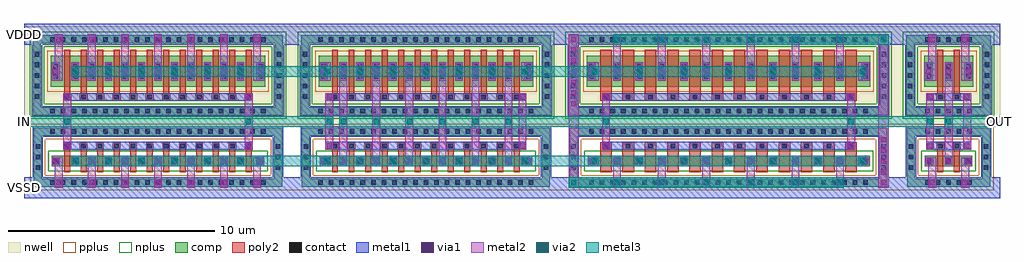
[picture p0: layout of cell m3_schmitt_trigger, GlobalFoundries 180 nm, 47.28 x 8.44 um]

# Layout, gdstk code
import gdstk
lib = gdstk.Library(unit=1e-6, precision=5e-09)
def R(c, l, rs):  # rectangles x0, y0, x1, y1
    for r in rs: c.add(gdstk.rectangle(r[:2], r[2:], *l))
def A(c, l, x, y, w, h, nx, ny, dx, dy):  # array of equal rectangles
    R(c, l, [(x+i*dx, y+j*dy, x+i*dx+w, y+j*dy+h) for i in range(nx) for j in range(ny)])
def P(c, l, *ps):  # polygons
    for p in ps: c.add(gdstk.Polygon(p, *l))
nwell = (21, 0)
comp = (22, 0)
poly2 = (30, 0)
pplus = (31, 0)
nplus = (32, 0)
contact = (33, 0)
metal1 = (34, 0)
via1 = (35, 0)
metal2 = (36, 0)
via2 = (38, 0)
metal3 = (42, 0)

pfet_5 = lib.new_cell('pfet$5')
R(pfet_5, nwell, [(-1.76,-1.81,11.22,2.93)])
R(pfet_5, comp, [(-0.46,0,0,1.5), (0,0,9.46,1.5), (9.46,0,9.92,1.5)])
P(pfet_5, comp, [(-1.32,-1.37),(-1.32,2.11),(-0.94,2.11),(-0.94,-0.99),(10.4,-0.99),(10.4,2.11),(-1.32,2.11),(-1.32,2.49),(10.78,2.49),(10.78,-1.37)])
A(pfet_5, poly2, 0.14, -0.68, 0.38, 0.38, 12, 1, 0.8, 0)
A(pfet_5, poly2, 0.19, -0.3, 0.28, 2.1, 12, 1, 0.8, 0)
R(pfet_5, pplus, [(-0.63,-0.24,10.09,1.74)])
A(pfet_5, contact, -0.48, -1.29, 0.22, 0.22, 21, 2, 0.51, 3.48)
A(pfet_5, contact, 0.22, -0.6, 0.22, 0.22, 12, 1, 0.8, 0)
A(pfet_5, contact, -1.24, -0.57, 0.22, 0.22, 1, 5, 0, 0.51)
A(pfet_5, contact, 10.48, -0.57, 0.22, 0.22, 1, 5, 0, 0.51)
A(pfet_5, contact, 0.62, 0.385, 0.22, 0.22, 11, 2, 0.8, 0.51)
R(pfet_5, contact, [(-0.34,0.385,-0.12,0.605), (9.58,0.385,9.8,0.605), (-0.34,0.895,-0.12,1.115), (9.58,0.895,9.8,1.115)])
A(pfet_5, metal1, 0.14, -0.68, 0.38, 0.38, 12, 1, 0.8, 0)
A(pfet_5, metal1, 0.54, 0.305, 0.38, 0.89, 11, 1, 0.8, 0)
R(pfet_5, metal1, [(-0.42,0.305,-0.04,1.195), (9.5,0.305,9.88,1.195)])

nfet_5 = lib.new_cell('nfet$5')
R(nfet_5, comp, [(-0.42,0,0,0.5), (0,0,9.46,0.5), (9.46,0,9.88,0.5)])
P(nfet_5, comp, [(-1.28,-0.99),(-1.28,1.48),(-0.9,1.48),(-0.9,-0.61),(10.36,-0.61),(10.36,1.48),(-1.28,1.48),(-1.28,1.86),(10.74,1.86),(10.74,-0.99)])
A(nfet_5, poly2, 0.19, -0.3, 0.28, 1.1, 12, 1, 0.8, 0)
A(nfet_5, poly2, 0.15, 0.8, 0.36, 0.36, 12, 1, 0.8, 0)
P(nfet_5, pplus, [(-1.45,-1.16),(-1.45,1.31),(-0.73,1.31),(-0.73,-0.44),(10.19,-0.44),(10.19,1.31),(-1.45,1.31),(-1.45,2.03),(10.91,2.03),(10.91,-1.16)])
R(nfet_5, nplus, [(-0.59,-0.24,10.05,0.74)])
A(nfet_5, contact, -0.48, -0.91, 0.22, 0.22, 21, 2, 0.51, 2.47)
A(nfet_5, contact, -1.2, -0.185, 0.22, 0.22, 1, 3, 0, 0.51)
A(nfet_5, contact, 10.44, -0.185, 0.22, 0.22, 1, 3, 0, 0.51)
A(nfet_5, contact, 0.62, 0.14, 0.22, 0.22, 11, 1, 0.8, 0)
A(nfet_5, contact, 0.22, 0.87, 0.22, 0.22, 12, 1, 0.8, 0)
R(nfet_5, contact, [(-0.32,0.14,-0.1,0.36), (9.56,0.14,9.78,0.36)])
A(nfet_5, metal1, 0.54, 0.06, 0.38, 0.38, 11, 1, 0.8, 0)
A(nfet_5, metal1, 0.14, 0.79, 0.38, 0.38, 12, 1, 0.8, 0)
R(nfet_5, metal1, [(-0.4,0.06,-0.02,0.44), (9.48,0.06,9.86,0.44)])

nfet_6 = lib.new_cell('nfet$6')
R(nfet_6, comp, [(-0.42,0,0,0.5), (0,0,12.82,0.5), (12.82,0,13.24,0.5)])
P(nfet_6, comp, [(-1.28,-0.99),(-1.28,1.48),(-0.9,1.48),(-0.9,-0.61),(13.72,-0.61),(13.72,1.48),(-1.28,1.48),(-1.28,1.86),(14.1,1.86),(14.1,-0.99)])
A(nfet_6, poly2, 0.19, -0.3, 0.56, 1.1, 12, 1, 1.08, 0)
A(nfet_6, poly2, 0.19, 0.8, 0.56, 0.36, 12, 1, 1.08, 0)
P(nfet_6, pplus, [(-1.45,-1.16),(-1.45,1.31),(-0.73,1.31),(-0.73,-0.44),(13.55,-0.44),(13.55,1.31),(-1.45,1.31),(-1.45,2.03),(14.27,2.03),(14.27,-1.16)])
R(nfet_6, nplus, [(-0.59,-0.24,13.41,0.74)])
A(nfet_6, contact, -0.33, -0.91, 0.22, 0.22, 27, 2, 0.51, 2.47)
A(nfet_6, contact, -1.2, -0.185, 0.22, 0.22, 1, 3, 0, 0.51)
A(nfet_6, contact, 13.8, -0.185, 0.22, 0.22, 1, 3, 0, 0.51)
A(nfet_6, contact, 0.9, 0.14, 0.22, 0.22, 11, 1, 1.08, 0)
A(nfet_6, contact, 0.36, 0.87, 0.22, 0.22, 12, 1, 1.08, 0)
R(nfet_6, contact, [(-0.32,0.14,-0.1,0.36), (12.92,0.14,13.14,0.36)])
A(nfet_6, metal1, 0.82, 0.06, 0.38, 0.38, 11, 1, 1.08, 0)
A(nfet_6, metal1, 0.28, 0.79, 0.38, 0.38, 12, 1, 1.08, 0)
R(nfet_6, metal1, [(-0.4,0.06,-0.02,0.44), (12.84,0.06,13.22,0.44)])

pfet_6 = lib.new_cell('pfet$6')
R(pfet_6, nwell, [(-1.76,-1.81,14.58,2.93)])
R(pfet_6, comp, [(-0.46,0,0,1.5), (0,0,12.82,1.5), (12.82,0,13.28,1.5)])
P(pfet_6, comp, [(-1.32,-1.37),(-1.32,2.11),(-0.94,2.11),(-0.94,-0.99),(13.76,-0.99),(13.76,2.11),(-1.32,2.11),(-1.32,2.49),(14.14,2.49),(14.14,-1.37)])
A(pfet_6, poly2, 0.19, -0.68, 0.56, 0.38, 12, 1, 1.08, 0)
A(pfet_6, poly2, 0.19, -0.3, 0.56, 2.1, 12, 1, 1.08, 0)
R(pfet_6, pplus, [(-0.63,-0.24,13.45,1.74)])
A(pfet_6, contact, -0.33, -1.29, 0.22, 0.22, 27, 2, 0.51, 3.48)
A(pfet_6, contact, 0.36, -0.6, 0.22, 0.22, 12, 1, 1.08, 0)
A(pfet_6, contact, -1.24, -0.57, 0.22, 0.22, 1, 5, 0, 0.51)
A(pfet_6, contact, 13.84, -0.57, 0.22, 0.22, 1, 5, 0, 0.51)
A(pfet_6, contact, 0.9, 0.385, 0.22, 0.22, 11, 2, 1.08, 0.51)
R(pfet_6, contact, [(-0.34,0.385,-0.12,0.605), (12.94,0.385,13.16,0.605), (-0.34,0.895,-0.12,1.115), (12.94,0.895,13.16,1.115)])
A(pfet_6, metal1, 0.28, -0.68, 0.38, 0.38, 12, 1, 1.08, 0)
A(pfet_6, metal1, 0.82, 0.305, 0.38, 0.89, 11, 1, 1.08, 0)
R(pfet_6, metal1, [(-0.42,0.305,-0.04,1.195), (12.86,0.305,13.24,1.195)])

pfet_7 = lib.new_cell('pfet$7')
R(pfet_7, nwell, [(-1.76,-1.81,3.22,2.93)])
R(pfet_7, comp, [(-0.46,0,0,1.5), (0,0,1.46,1.5), (1.46,0,1.92,1.5)])
P(pfet_7, comp, [(-1.32,-1.37),(-1.32,2.11),(-0.94,2.11),(-0.94,-0.99),(2.4,-0.99),(2.4,2.11),(-1.32,2.11),(-1.32,2.49),(2.78,2.49),(2.78,-1.37)])
R(pfet_7, poly2, [(0.14,-0.68,0.52,-0.3), (0.94,-0.68,1.32,-0.3), (0.19,-0.3,0.47,1.8), (0.99,-0.3,1.27,1.8)])
R(pfet_7, pplus, [(-0.63,-0.24,2.09,1.74)])
A(pfet_7, contact, -0.4, -1.29, 0.22, 0.22, 5, 2, 0.51, 3.48)
A(pfet_7, contact, -1.24, -0.57, 0.22, 0.22, 1, 5, 0, 0.51)
A(pfet_7, contact, 2.48, -0.57, 0.22, 0.22, 1, 5, 0, 0.51)
A(pfet_7, contact, -0.34, 0.385, 0.22, 0.22, 3, 2, 0.96, 0.51)
R(pfet_7, contact, [(0.22,-0.6,0.44,-0.38), (1.02,-0.6,1.24,-0.38)])
A(pfet_7, metal1, -0.42, 0.305, 0.38, 0.89, 3, 1, 0.96, 0)
R(pfet_7, metal1, [(0.14,-0.68,0.52,-0.3), (0.94,-0.68,1.32,-0.3)])

nfet_7 = lib.new_cell('nfet$7')
R(nfet_7, comp, [(-0.42,0,0,0.5), (0,0,1.46,0.5), (1.46,0,1.88,0.5)])
P(nfet_7, comp, [(-1.28,-0.99),(-1.28,1.48),(-0.9,1.48),(-0.9,-0.61),(2.36,-0.61),(2.36,1.48),(-1.28,1.48),(-1.28,1.86),(2.74,1.86),(2.74,-0.99)])
R(nfet_7, poly2, [(0.19,-0.3,0.47,0.8), (0.99,-0.3,1.27,0.8), (0.15,0.8,0.51,1.16), (0.95,0.8,1.31,1.16)])
P(nfet_7, pplus, [(-1.45,-1.16),(-1.45,1.31),(-0.73,1.31),(-0.73,-0.44),(2.19,-0.44),(2.19,1.31),(-1.45,1.31),(-1.45,2.03),(2.91,2.03),(2.91,-1.16)])
R(nfet_7, nplus, [(-0.59,-0.24,2.05,0.74)])
A(nfet_7, contact, -0.4, -0.91, 0.22, 0.22, 5, 2, 0.51, 2.47)
A(nfet_7, contact, -1.2, -0.185, 0.22, 0.22, 1, 3, 0, 0.51)
A(nfet_7, contact, 2.44, -0.185, 0.22, 0.22, 1, 3, 0, 0.51)
A(nfet_7, contact, -0.32, 0.14, 0.22, 0.22, 3, 1, 0.94, 0)
R(nfet_7, contact, [(0.22,0.87,0.44,1.09), (1.02,0.87,1.24,1.09)])
A(nfet_7, metal1, -0.4, 0.06, 0.38, 0.38, 3, 1, 0.94, 0)
R(nfet_7, metal1, [(0.14,0.79,0.52,1.17), (0.94,0.79,1.32,1.17)])

m3_schmitt_trigger = lib.new_cell('m3_schmitt_trigger')
R(m3_schmitt_trigger, pplus, [(1.87,-5.72,2.49,-2.53), (14.85,-5.72,15.47,-2.53), (31.19,-5.72,31.81,-2.53)])
A(m3_schmitt_trigger, via1, -9.24, -5.49, 0.26, 0.26, 7, 2, 1.6, 6.94)
A(m3_schmitt_trigger, via1, 30.7, -5.49, 0.26, 0.26, 1, 5, 0, 0.52)
A(m3_schmitt_trigger, via1, -8.44, -4.44, 0.26, 0.26, 11, 2, 0.8, 4.34)
A(m3_schmitt_trigger, via1, 4.54, -4.44, 0.26, 0.26, 11, 2, 0.8, 4.34)
A(m3_schmitt_trigger, via1, 17.8, -4.44, 0.26, 0.26, 11, 2, 1.08, 4.34)
A(m3_schmitt_trigger, via1, 32.92, -4.44, 0.26, 0.26, 3, 1, 0.94, 0)
A(m3_schmitt_trigger, via1, 15.7, -1.67, 0.26, 0.26, 1, 7, 0, 0.52)
A(m3_schmitt_trigger, via1, 32.9, -0.1, 0.26, 0.26, 3, 1, 0.96, 0)
R(m3_schmitt_trigger, via1, [(33.06,-5.49,33.32,-5.23), (34.66,-5.49,34.92,-5.23), (-9.38,-4.44,-9.12,-4.18), (0.54,-4.44,0.8,-4.18), (3.6,-4.44,3.86,-4.18), (13.48,-4.44,13.74,-4.18), (16.58,-4.44,16.84,-4.18), (29.82,-4.44,30.08,-4.18), (-8.84,-3.71,-8.58,-3.45), (-0.04,-3.71,0.22,-3.45), (3.86,-3.71,4.12,-3.45), (13.22,-3.71,13.48,-3.45), (17.26,-3.71,17.52,-3.45), (29.14,-3.71,29.4,-3.45), (32.96,-3.71,33.22,-3.45), (34.76,-3.71,35.02,-3.45), (-8.84,-1.34,-8.58,-1.08), (-0.04,-1.34,0.22,-1.08), (3.86,-1.34,4.12,-1.08), (13.22,-1.34,13.48,-1.08), (17.26,-1.34,17.52,-1.08), (29.14,-1.34,29.4,-1.08), (32.96,-1.34,33.22,-1.08), (34.76,-1.34,35.02,-1.08), (-9.4,-0.1,-9.14,0.16), (0.52,-0.1,0.78,0.16), (3.58,-0.1,3.84,0.16), (13.5,-0.1,13.76,0.16), (16.56,-0.1,16.82,0.16), (29.84,-0.1,30.1,0.16), (33.06,1.45,33.32,1.71), (34.66,1.45,34.92,1.71)])
A(m3_schmitt_trigger, via2, 17.8, -5.49, 0.26, 0.26, 6, 2, 2.16, 6.94)
A(m3_schmitt_trigger, via2, -8.44, -4.44, 0.26, 0.26, 6, 2, 1.6, 4.34)
A(m3_schmitt_trigger, via2, 3.74, -4.44, 0.26, 0.26, 7, 2, 1.6, 4.34)
A(m3_schmitt_trigger, via2, 16.72, -4.44, 0.26, 0.26, 7, 2, 2.16, 4.34)
A(m3_schmitt_trigger, via2, 4.54, -2.525, 0.26, 0.26, 6, 1, 1.6, 0)
R(m3_schmitt_trigger, via2, [(15.7,-5.49,15.96,-5.23), (-8.84,-2.525,-8.58,-2.265), (-0.04,-2.525,0.22,-2.265), (3.86,-2.525,4.12,-2.265), (17.26,-2.525,17.52,-2.265), (29.14,-2.525,29.4,-2.265), (32.96,-2.525,33.22,-2.265), (33.86,-2.525,34.12,-2.265), (30.7,1.45,30.96,1.71)])
m3_schmitt_trigger.add(gdstk.FlexPath([(15.43,1.58),(30.87,1.58),(30.87,-1.9),(15.79,-1.9),(15.79,1.22)], 0.72, ends="flush", simple_path=True, layer=32, datatype=0))  # nplus
m3_schmitt_trigger.add(gdstk.FlexPath([(31.77,1.58),(35.85,1.58),(35.85,-1.9),(32.13,-1.9),(32.13,1.22)], 0.72, ends="flush", simple_path=True, layer=32, datatype=0))  # nplus
m3_schmitt_trigger.add(gdstk.FlexPath([(-10.53,1.58),(1.55,1.58),(1.55,-1.9),(-10.17,-1.9),(-10.17,1.22)], 0.72, ends="flush", simple_path=True, layer=32, datatype=0))  # nplus
m3_schmitt_trigger.add(gdstk.FlexPath([(2.45,1.58),(14.53,1.58),(14.53,-1.9),(2.81,-1.9),(2.81,1.22)], 0.72, ends="flush", simple_path=True, layer=32, datatype=0))  # nplus
m3_schmitt_trigger.add(gdstk.FlexPath([(17.2,-1.21),(29.46,-1.21)], 0.38, ends="flush", simple_path=True, layer=34, datatype=0))  # metal1
m3_schmitt_trigger.add(gdstk.FlexPath([(17.2,-3.58),(29.46,-3.58)], 0.38, ends="flush", simple_path=True, layer=34, datatype=0))  # metal1
m3_schmitt_trigger.add(gdstk.FlexPath([(15.58,-2.89),(30.83,-2.89),(30.83,-5.36),(15.83,-5.36),(15.83,-3.14)], 0.5, ends="flush", simple_path=True, layer=34, datatype=0))  # metal1
m3_schmitt_trigger.add(gdstk.FlexPath([(15.54,1.58),(30.87,1.58),(30.87,-1.9),(15.79,-1.9),(15.79,1.33)], 0.5, ends="flush", simple_path=True, layer=34, datatype=0))  # metal1
m3_schmitt_trigger.add(gdstk.FlexPath([(-10.8,1.83),(36.48,1.83)], 1, ends="flush", simple_path=True, layer=34, datatype=0))  # metal1
m3_schmitt_trigger.add(gdstk.FlexPath([(-10.8,-5.61),(36.48,-5.61)], 1, ends="flush", simple_path=True, layer=34, datatype=0))  # metal1
m3_schmitt_trigger.add(gdstk.FlexPath([(32.9,-3.58),(35.08,-3.58)], 0.38, ends="flush", simple_path=True, layer=34, datatype=0))  # metal1
m3_schmitt_trigger.add(gdstk.FlexPath([(32.9,-1.21),(35.08,-1.21)], 0.38, ends="flush", simple_path=True, layer=34, datatype=0))  # metal1
m3_schmitt_trigger.add(gdstk.FlexPath([(31.88,1.58),(35.85,1.58),(35.85,-1.9),(32.13,-1.9),(32.13,1.33)], 0.5, ends="flush", simple_path=True, layer=34, datatype=0))  # metal1
m3_schmitt_trigger.add(gdstk.FlexPath([(31.92,-2.89),(35.81,-2.89),(35.81,-5.36),(32.17,-5.36),(32.17,-3.14)], 0.5, ends="flush", simple_path=True, layer=34, datatype=0))  # metal1
m3_schmitt_trigger.add(gdstk.FlexPath([(-10.42,1.58),(1.55,1.58),(1.55,-1.9),(-10.17,-1.9),(-10.17,1.33)], 0.5, ends="flush", simple_path=True, layer=34, datatype=0))  # metal1
m3_schmitt_trigger.add(gdstk.FlexPath([(-10.38,-2.89),(1.51,-2.89),(1.51,-5.36),(-10.13,-5.36),(-10.13,-3.14)], 0.5, ends="flush", simple_path=True, layer=34, datatype=0))  # metal1
m3_schmitt_trigger.add(gdstk.FlexPath([(-8.9,-3.58),(0.28,-3.58)], 0.38, ends="flush", simple_path=True, layer=34, datatype=0))  # metal1
m3_schmitt_trigger.add(gdstk.FlexPath([(-8.9,-1.21),(0.28,-1.21)], 0.38, ends="flush", simple_path=True, layer=34, datatype=0))  # metal1
m3_schmitt_trigger.add(gdstk.FlexPath([(2.56,1.58),(14.53,1.58),(14.53,-1.9),(2.81,-1.9),(2.81,1.33)], 0.5, ends="flush", simple_path=True, layer=34, datatype=0))  # metal1
m3_schmitt_trigger.add(gdstk.FlexPath([(2.6,-2.89),(14.49,-2.89),(14.49,-5.36),(2.85,-5.36),(2.85,-3.14)], 0.5, ends="flush", simple_path=True, layer=34, datatype=0))  # metal1
m3_schmitt_trigger.add(gdstk.FlexPath([(3.8,-3.58),(13.54,-3.58)], 0.38, ends="flush", simple_path=True, layer=34, datatype=0))  # metal1
m3_schmitt_trigger.add(gdstk.FlexPath([(3.8,-1.21),(13.54,-1.21)], 0.38, ends="flush", simple_path=True, layer=34, datatype=0))  # metal1
m3_schmitt_trigger.add(gdstk.FlexPath([(-8.495,0.03),(30,0.03)], 0.5, ends="flush", simple_path=True, layer=42, datatype=0))  # metal3
m3_schmitt_trigger.add(gdstk.FlexPath([(-8.5,-4.31),(30,-4.31)], 0.5, ends="flush", simple_path=True, layer=42, datatype=0))  # metal3
m3_schmitt_trigger.add(gdstk.FlexPath([(15.58,-5.36),(28.92,-5.36)], 0.5, ends="flush", simple_path=True, layer=42, datatype=0))  # metal3
m3_schmitt_trigger.add(gdstk.FlexPath([(17.74,1.58),(31.08,1.58)], 0.5, ends="flush", simple_path=True, layer=42, datatype=0))  # metal3
m3_schmitt_trigger.add(gdstk.FlexPath([(4.48,-2.395),(33.28,-2.395)], 0.5, ends="flush", simple_path=True, layer=42, datatype=0))  # metal3
m3_schmitt_trigger.add(gdstk.FlexPath([(33.8,-2.395),(36.48,-2.395)], 0.5, ends="flush", simple_path=True, layer=42, datatype=0))  # metal3
m3_schmitt_trigger.add(gdstk.FlexPath([(-10.8,-2.395),(4.18,-2.395)], 0.5, ends="flush", simple_path=True, layer=42, datatype=0))  # metal3
m3_schmitt_trigger.add(gdstk.FlexPath([(12.67,0.475),(12.67,-4.5)], 0.38, ends="flush", simple_path=True, layer=36, datatype=0))  # metal2
m3_schmitt_trigger.add(gdstk.FlexPath([(15.83,1.83),(15.83,-5.61)], 0.5, ends="flush", simple_path=True, layer=36, datatype=0))  # metal2
m3_schmitt_trigger.add(gdstk.FlexPath([(28.73,-4.12),(28.73,-5.61)], 0.38, ends="flush", simple_path=True, layer=36, datatype=0))  # metal2
m3_schmitt_trigger.add(gdstk.FlexPath([(26.57,-4.12),(26.57,-5.61)], 0.38, ends="flush", simple_path=True, layer=36, datatype=0))  # metal2
m3_schmitt_trigger.add(gdstk.FlexPath([(24.41,-4.12),(24.41,-5.61)], 0.38, ends="flush", simple_path=True, layer=36, datatype=0))  # metal2
m3_schmitt_trigger.add(gdstk.FlexPath([(22.25,-4.12),(22.25,-5.61)], 0.38, ends="flush", simple_path=True, layer=36, datatype=0))  # metal2
m3_schmitt_trigger.add(gdstk.FlexPath([(20.09,-4.12),(20.09,-5.61)], 0.38, ends="flush", simple_path=True, layer=36, datatype=0))  # metal2
m3_schmitt_trigger.add(gdstk.FlexPath([(17.93,-4.12),(17.93,-5.61)], 0.38, ends="flush", simple_path=True, layer=36, datatype=0))  # metal2
m3_schmitt_trigger.add(gdstk.FlexPath([(27.65,-4.12),(27.65,-4.5)], 0.38, ends="flush", simple_path=True, layer=36, datatype=0))  # metal2
m3_schmitt_trigger.add(gdstk.FlexPath([(23.33,-4.12),(23.33,-4.5)], 0.38, ends="flush", simple_path=True, layer=36, datatype=0))  # metal2
m3_schmitt_trigger.add(gdstk.FlexPath([(30.07,-4.12),(30.07,-4.5)], 0.14, ends="flush", simple_path=True, layer=36, datatype=0))  # metal2
m3_schmitt_trigger.add(gdstk.FlexPath([(19.01,-4.12),(19.01,-4.5)], 0.38, ends="flush", simple_path=True, layer=36, datatype=0))  # metal2
m3_schmitt_trigger.add(gdstk.FlexPath([(16.85,-4.12),(16.85,-4.5)], 0.38, ends="flush", simple_path=True, layer=36, datatype=0))  # metal2
m3_schmitt_trigger.add(gdstk.FlexPath([(16.59,-4.12),(16.59,-4.5)], 0.14, ends="flush", simple_path=True, layer=36, datatype=0))  # metal2
m3_schmitt_trigger.add(gdstk.FlexPath([(25.49,-4.12),(25.49,-4.5)], 0.38, ends="flush", simple_path=True, layer=36, datatype=0))  # metal2
m3_schmitt_trigger.add(gdstk.FlexPath([(28.73,1.83),(28.73,-0.415)], 0.38, ends="flush", simple_path=True, layer=36, datatype=0))  # metal2
m3_schmitt_trigger.add(gdstk.FlexPath([(26.57,1.83),(26.57,-0.415)], 0.38, ends="flush", simple_path=True, layer=36, datatype=0))  # metal2
m3_schmitt_trigger.add(gdstk.FlexPath([(24.41,1.83),(24.41,-0.415)], 0.38, ends="flush", simple_path=True, layer=36, datatype=0))  # metal2
m3_schmitt_trigger.add(gdstk.FlexPath([(22.25,1.83),(22.25,-0.415)], 0.38, ends="flush", simple_path=True, layer=36, datatype=0))  # metal2
m3_schmitt_trigger.add(gdstk.FlexPath([(20.09,1.83),(20.09,-0.415)], 0.38, ends="flush", simple_path=True, layer=36, datatype=0))  # metal2
m3_schmitt_trigger.add(gdstk.FlexPath([(17.93,1.83),(17.93,-0.415)], 0.38, ends="flush", simple_path=True, layer=36, datatype=0))  # metal2
m3_schmitt_trigger.add(gdstk.FlexPath([(16.58,0.475),(16.58,-0.415)], 0.16, ends="flush", simple_path=True, layer=36, datatype=0))  # metal2
m3_schmitt_trigger.add(gdstk.FlexPath([(30.08,0.475),(30.08,-0.415)], 0.16, ends="flush", simple_path=True, layer=36, datatype=0))  # metal2
m3_schmitt_trigger.add(gdstk.FlexPath([(19.01,0.475),(19.01,-0.415)], 0.38, ends="flush", simple_path=True, layer=36, datatype=0))  # metal2
m3_schmitt_trigger.add(gdstk.FlexPath([(16.85,0.475),(16.85,-0.415)], 0.38, ends="flush", simple_path=True, layer=36, datatype=0))  # metal2
m3_schmitt_trigger.add(gdstk.FlexPath([(29.81,0.475),(29.81,-0.415)], 0.38, ends="flush", simple_path=True, layer=36, datatype=0))  # metal2
m3_schmitt_trigger.add(gdstk.FlexPath([(25.49,0.475),(25.49,-0.415)], 0.38, ends="flush", simple_path=True, layer=36, datatype=0))  # metal2
m3_schmitt_trigger.add(gdstk.FlexPath([(23.33,0.475),(23.33,-0.415)], 0.38, ends="flush", simple_path=True, layer=36, datatype=0))  # metal2
m3_schmitt_trigger.add(gdstk.FlexPath([(21.17,0.475),(21.17,-0.415)], 0.38, ends="flush", simple_path=True, layer=36, datatype=0))  # metal2
m3_schmitt_trigger.add(gdstk.FlexPath([(29.27,-1.02),(29.27,-3.77)], 0.38, ends="flush", simple_path=True, layer=36, datatype=0))  # metal2
m3_schmitt_trigger.add(gdstk.FlexPath([(17.39,-1.02),(17.39,-3.77)], 0.38, ends="flush", simple_path=True, layer=36, datatype=0))  # metal2
m3_schmitt_trigger.add(gdstk.FlexPath([(29.81,-4.12),(29.81,-4.5)], 0.38, ends="flush", simple_path=True, layer=36, datatype=0))  # metal2
m3_schmitt_trigger.add(gdstk.FlexPath([(21.17,-4.12),(21.17,-4.5)], 0.38, ends="flush", simple_path=True, layer=36, datatype=0))  # metal2
m3_schmitt_trigger.add(gdstk.FlexPath([(27.65,0.475),(27.65,-0.415)], 0.38, ends="flush", simple_path=True, layer=36, datatype=0))  # metal2
m3_schmitt_trigger.add(gdstk.FlexPath([(33.19,1.83),(33.19,-0.415)], 0.38, ends="flush", simple_path=True, layer=36, datatype=0))  # metal2
m3_schmitt_trigger.add(gdstk.FlexPath([(34.79,-4.12),(34.79,-5.61)], 0.38, ends="flush", simple_path=True, layer=36, datatype=0))  # metal2
m3_schmitt_trigger.add(gdstk.FlexPath([(35.06,-4.12),(35.06,-4.5)], 0.16, ends="flush", simple_path=True, layer=36, datatype=0))  # metal2
m3_schmitt_trigger.add(gdstk.FlexPath([(33.09,-1.02),(33.09,-3.77)], 0.38, ends="flush", simple_path=True, layer=36, datatype=0))  # metal2
m3_schmitt_trigger.add(gdstk.FlexPath([(34.79,1.83),(34.79,-0.415)], 0.38, ends="flush", simple_path=True, layer=36, datatype=0))  # metal2
m3_schmitt_trigger.add(gdstk.FlexPath([(32.92,0.475),(32.92,-0.415)], 0.16, ends="flush", simple_path=True, layer=36, datatype=0))  # metal2
m3_schmitt_trigger.add(gdstk.FlexPath([(35.06,0.475),(35.06,-0.415)], 0.16, ends="flush", simple_path=True, layer=36, datatype=0))  # metal2
m3_schmitt_trigger.add(gdstk.FlexPath([(33.99,0.475),(33.99,-4.5)], 0.38, ends="flush", simple_path=True, layer=36, datatype=0))  # metal2
m3_schmitt_trigger.add(gdstk.FlexPath([(32.92,-4.12),(32.92,-4.5)], 0.16, ends="flush", simple_path=True, layer=36, datatype=0))  # metal2
m3_schmitt_trigger.add(gdstk.FlexPath([(33.19,-4.12),(33.19,-5.61)], 0.38, ends="flush", simple_path=True, layer=36, datatype=0))  # metal2
m3_schmitt_trigger.add(gdstk.FlexPath([(34.89,-1.02),(34.89,-3.77)], 0.38, ends="flush", simple_path=True, layer=36, datatype=0))  # metal2
m3_schmitt_trigger.add(gdstk.FlexPath([(13.47,0.475),(13.47,-0.415)], 0.38, ends="flush", simple_path=True, layer=36, datatype=0))  # metal2
m3_schmitt_trigger.add(gdstk.FlexPath([(13.74,0.475),(13.74,-0.415)], 0.16, ends="flush", simple_path=True, layer=36, datatype=0))  # metal2
m3_schmitt_trigger.add(gdstk.FlexPath([(13.74,-4.12),(13.74,-4.5)], 0.16, ends="flush", simple_path=True, layer=36, datatype=0))  # metal2
m3_schmitt_trigger.add(gdstk.FlexPath([(30.83,1.83),(30.83,-5.61)], 0.5, ends="flush", simple_path=True, layer=36, datatype=0))  # metal2
m3_schmitt_trigger.add(gdstk.FlexPath([(13.47,-4.12),(13.47,-4.5)], 0.38, ends="flush", simple_path=True, layer=36, datatype=0))  # metal2
m3_schmitt_trigger.add(gdstk.FlexPath([(13.35,-1.02),(13.35,-3.77)], 0.38, ends="flush", simple_path=True, layer=36, datatype=0))  # metal2
m3_schmitt_trigger.add(gdstk.FlexPath([(-3.51,0.475),(-3.51,-0.415)], 0.38, ends="flush", simple_path=True, layer=36, datatype=0))  # metal2
m3_schmitt_trigger.add(gdstk.FlexPath([(-2.71,1.83),(-2.71,-0.415)], 0.38, ends="flush", simple_path=True, layer=36, datatype=0))  # metal2
m3_schmitt_trigger.add(gdstk.FlexPath([(-1.91,0.475),(-1.91,-0.415)], 0.38, ends="flush", simple_path=True, layer=36, datatype=0))  # metal2
m3_schmitt_trigger.add(gdstk.FlexPath([(-1.11,1.83),(-1.11,-0.415)], 0.38, ends="flush", simple_path=True, layer=36, datatype=0))  # metal2
m3_schmitt_trigger.add(gdstk.FlexPath([(-0.31,0.475),(-0.31,-0.415)], 0.38, ends="flush", simple_path=True, layer=36, datatype=0))  # metal2
m3_schmitt_trigger.add(gdstk.FlexPath([(0.49,1.83),(0.49,-0.415)], 0.38, ends="flush", simple_path=True, layer=36, datatype=0))  # metal2
m3_schmitt_trigger.add(gdstk.FlexPath([(-8.31,0.475),(-8.31,-0.415)], 0.38, ends="flush", simple_path=True, layer=36, datatype=0))  # metal2
m3_schmitt_trigger.add(gdstk.FlexPath([(-9.38,0.475),(-9.38,-0.415)], 0.16, ends="flush", simple_path=True, layer=36, datatype=0))  # metal2
m3_schmitt_trigger.add(gdstk.FlexPath([(-9.38,-4.12),(-9.38,-4.5)], 0.16, ends="flush", simple_path=True, layer=36, datatype=0))  # metal2
m3_schmitt_trigger.add(gdstk.FlexPath([(0.76,0.475),(0.76,-0.415)], 0.16, ends="flush", simple_path=True, layer=36, datatype=0))  # metal2
m3_schmitt_trigger.add(gdstk.FlexPath([(0.76,-4.12),(0.76,-4.5)], 0.16, ends="flush", simple_path=True, layer=36, datatype=0))  # metal2
m3_schmitt_trigger.add(gdstk.FlexPath([(-8.31,-4.12),(-8.31,-4.5)], 0.38, ends="flush", simple_path=True, layer=36, datatype=0))  # metal2
m3_schmitt_trigger.add(gdstk.FlexPath([(-7.51,-4.12),(-7.51,-5.61)], 0.38, ends="flush", simple_path=True, layer=36, datatype=0))  # metal2
m3_schmitt_trigger.add(gdstk.FlexPath([(-6.71,-4.12),(-6.71,-4.5)], 0.38, ends="flush", simple_path=True, layer=36, datatype=0))  # metal2
m3_schmitt_trigger.add(gdstk.FlexPath([(-5.91,-4.12),(-5.91,-5.61)], 0.38, ends="flush", simple_path=True, layer=36, datatype=0))  # metal2
m3_schmitt_trigger.add(gdstk.FlexPath([(-5.11,-4.12),(-5.11,-4.5)], 0.38, ends="flush", simple_path=True, layer=36, datatype=0))  # metal2
m3_schmitt_trigger.add(gdstk.FlexPath([(-4.31,-4.12),(-4.31,-5.61)], 0.38, ends="flush", simple_path=True, layer=36, datatype=0))  # metal2
m3_schmitt_trigger.add(gdstk.FlexPath([(-3.51,-4.12),(-3.51,-4.5)], 0.38, ends="flush", simple_path=True, layer=36, datatype=0))  # metal2
m3_schmitt_trigger.add(gdstk.FlexPath([(-2.71,-4.12),(-2.71,-5.61)], 0.38, ends="flush", simple_path=True, layer=36, datatype=0))  # metal2
m3_schmitt_trigger.add(gdstk.FlexPath([(-1.91,-4.12),(-1.91,-4.5)], 0.38, ends="flush", simple_path=True, layer=36, datatype=0))  # metal2
m3_schmitt_trigger.add(gdstk.FlexPath([(-1.11,-4.12),(-1.11,-5.61)], 0.38, ends="flush", simple_path=True, layer=36, datatype=0))  # metal2
m3_schmitt_trigger.add(gdstk.FlexPath([(-0.31,-4.12),(-0.31,-4.5)], 0.38, ends="flush", simple_path=True, layer=36, datatype=0))  # metal2
m3_schmitt_trigger.add(gdstk.FlexPath([(0.49,-4.12),(0.49,-5.61)], 0.38, ends="flush", simple_path=True, layer=36, datatype=0))  # metal2
m3_schmitt_trigger.add(gdstk.FlexPath([(-9.11,-4.12),(-9.11,-5.61)], 0.38, ends="flush", simple_path=True, layer=36, datatype=0))  # metal2
m3_schmitt_trigger.add(gdstk.FlexPath([(3.87,0.475),(3.87,-0.415)], 0.38, ends="flush", simple_path=True, layer=36, datatype=0))  # metal2
m3_schmitt_trigger.add(gdstk.FlexPath([(7.07,0.475),(7.07,-0.415)], 0.38, ends="flush", simple_path=True, layer=36, datatype=0))  # metal2
m3_schmitt_trigger.add(gdstk.FlexPath([(5.47,0.475),(5.47,-0.415)], 0.38, ends="flush", simple_path=True, layer=36, datatype=0))  # metal2
m3_schmitt_trigger.add(gdstk.FlexPath([(8.67,0.475),(8.67,-0.415)], 0.38, ends="flush", simple_path=True, layer=36, datatype=0))  # metal2
m3_schmitt_trigger.add(gdstk.FlexPath([(10.27,0.475),(10.27,-0.415)], 0.38, ends="flush", simple_path=True, layer=36, datatype=0))  # metal2
m3_schmitt_trigger.add(gdstk.FlexPath([(11.87,0.475),(11.87,-0.415)], 0.38, ends="flush", simple_path=True, layer=36, datatype=0))  # metal2
m3_schmitt_trigger.add(gdstk.FlexPath([(-9.11,1.83),(-9.11,-0.415)], 0.38, ends="flush", simple_path=True, layer=36, datatype=0))  # metal2
m3_schmitt_trigger.add(gdstk.FlexPath([(5.47,-4.12),(5.47,-4.5)], 0.38, ends="flush", simple_path=True, layer=36, datatype=0))  # metal2
m3_schmitt_trigger.add(gdstk.FlexPath([(3.6,0.475),(3.6,-0.415)], 0.16, ends="flush", simple_path=True, layer=36, datatype=0))  # metal2
m3_schmitt_trigger.add(gdstk.FlexPath([(-7.51,1.83),(-7.51,-0.415)], 0.38, ends="flush", simple_path=True, layer=36, datatype=0))  # metal2
m3_schmitt_trigger.add(gdstk.FlexPath([(-6.71,0.475),(-6.71,-0.415)], 0.38, ends="flush", simple_path=True, layer=36, datatype=0))  # metal2
m3_schmitt_trigger.add(gdstk.FlexPath([(4.67,0.475),(4.67,-4.5)], 0.38, ends="flush", simple_path=True, layer=36, datatype=0))  # metal2
m3_schmitt_trigger.add(gdstk.FlexPath([(6.27,0.475),(6.27,-4.5)], 0.38, ends="flush", simple_path=True, layer=36, datatype=0))  # metal2
m3_schmitt_trigger.add(gdstk.FlexPath([(7.87,0.475),(7.87,-4.5)], 0.38, ends="flush", simple_path=True, layer=36, datatype=0))  # metal2
m3_schmitt_trigger.add(gdstk.FlexPath([(3.6,-4.12),(3.6,-4.5)], 0.16, ends="flush", simple_path=True, layer=36, datatype=0))  # metal2
m3_schmitt_trigger.add(gdstk.FlexPath([(11.07,0.475),(11.07,-4.5)], 0.38, ends="flush", simple_path=True, layer=36, datatype=0))  # metal2
m3_schmitt_trigger.add(gdstk.FlexPath([(9.47,0.475),(9.47,-4.5)], 0.38, ends="flush", simple_path=True, layer=36, datatype=0))  # metal2
m3_schmitt_trigger.add(gdstk.FlexPath([(3.87,-4.12),(3.87,-4.5)], 0.38, ends="flush", simple_path=True, layer=36, datatype=0))  # metal2
m3_schmitt_trigger.add(gdstk.FlexPath([(-5.91,1.83),(-5.91,-0.415)], 0.38, ends="flush", simple_path=True, layer=36, datatype=0))  # metal2
m3_schmitt_trigger.add(gdstk.FlexPath([(0.09,-1.02),(0.09,-3.77)], 0.38, ends="flush", simple_path=True, layer=36, datatype=0))  # metal2
m3_schmitt_trigger.add(gdstk.FlexPath([(-8.71,-1.02),(-8.71,-3.77)], 0.38, ends="flush", simple_path=True, layer=36, datatype=0))  # metal2
m3_schmitt_trigger.add(gdstk.FlexPath([(7.07,-4.12),(7.07,-4.5)], 0.38, ends="flush", simple_path=True, layer=36, datatype=0))  # metal2
m3_schmitt_trigger.add(gdstk.FlexPath([(8.67,-4.12),(8.67,-4.5)], 0.38, ends="flush", simple_path=True, layer=36, datatype=0))  # metal2
m3_schmitt_trigger.add(gdstk.FlexPath([(10.27,-4.12),(10.27,-4.5)], 0.38, ends="flush", simple_path=True, layer=36, datatype=0))  # metal2
m3_schmitt_trigger.add(gdstk.FlexPath([(11.87,-4.12),(11.87,-4.5)], 0.38, ends="flush", simple_path=True, layer=36, datatype=0))  # metal2
m3_schmitt_trigger.add(gdstk.FlexPath([(-5.11,0.475),(-5.11,-0.415)], 0.38, ends="flush", simple_path=True, layer=36, datatype=0))  # metal2
m3_schmitt_trigger.add(gdstk.FlexPath([(3.99,-1.02),(3.99,-3.77)], 0.38, ends="flush", simple_path=True, layer=36, datatype=0))  # metal2
m3_schmitt_trigger.add(gdstk.FlexPath([(-4.31,1.83),(-4.31,-0.415)], 0.38, ends="flush", simple_path=True, layer=36, datatype=0))  # metal2
m3_schmitt_trigger.add(gdstk.Reference(pfet_5, (-9.04,-0.72)))
m3_schmitt_trigger.add(gdstk.Reference(nfet_5, (-9.04,-4.56)))
m3_schmitt_trigger.add(gdstk.Reference(pfet_5, (3.94,-0.72)))
m3_schmitt_trigger.add(gdstk.Reference(nfet_5, (3.94,-4.56)))
m3_schmitt_trigger.add(gdstk.Reference(nfet_6, (16.92,-4.56)))
m3_schmitt_trigger.add(gdstk.Reference(pfet_6, (16.92,-0.72)))
m3_schmitt_trigger.add(gdstk.Reference(pfet_7, (33.26,-0.72)))
m3_schmitt_trigger.add(gdstk.Reference(nfet_7, (33.26,-4.56)))
m3_schmitt_trigger.add(gdstk.Label('VDDD', (-10.785,1.83), layer=34, texttype=10))
m3_schmitt_trigger.add(gdstk.Label('VSSD', (-10.785,-5.61), layer=34, texttype=10))
m3_schmitt_trigger.add(gdstk.Label('IN', (-10.785,-2.395), layer=42, texttype=10))
m3_schmitt_trigger.add(gdstk.Label('OUT', (36.465,-2.395), layer=42, texttype=10))

lib.write_gds('m3_schmitt_trigger.gds')
